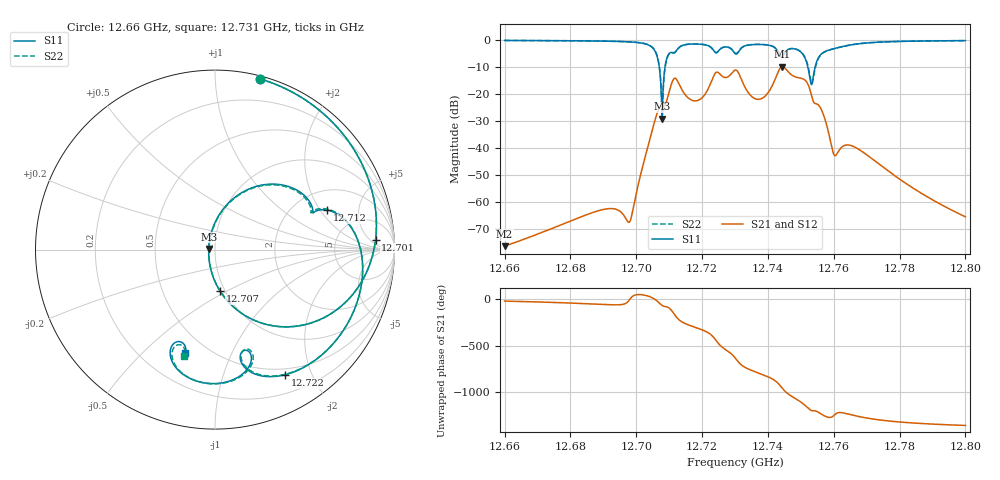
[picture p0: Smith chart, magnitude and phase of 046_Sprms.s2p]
! TOUCHSTONE file generated by CST MICROWAVE STUDIO
! Date and time: Wed Jul 31 12:59:45 2024
! Project name: WaveGuide_BPF-Ver4.1_U-shape_Ku_T3_C4_CWA_2.cst
! Parameters = {cavity_h=16; cavity_l0=10; cavity_l1=15.1943; cavity_l2=16.8028; cavity_l3=17.1314; cavity_l4=17.2284; cavity_l5=17.1281; cavity_l6=17.6007; cavity_r=2.5; cavity_screw_l=0.5; cavity_screw_r=1.5; cavity_w=8; iris_h00=0; iris_h01=8.8069; iris_h112=0; iris_h12=5.594; iris_h211=3.6668; i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
! Header version: 2018
! Port assignment regex: !\s*Touchstone port\s*([0-9]+)\s*=\s*(CST MWS port|CST DS port)\s*([0-9]+|Zmin|Zmax)\s*\(\"(.*)\"\)(\s*mode\s*([0-9]+))?.*
! Touchstone port assignment:
! Touchstone port 1 = CST MWS port 1 ("")
! Touchstone port 2 = CST MWS port 2 ("")
# GHz S RI R 50
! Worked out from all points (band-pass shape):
!   5001 points, 12.66 GHz to 12.8 GHz, reference 50 ohm
!   highest |S21| = -9.82 dB at 12.744 GHz (marker M1); lowest = -76.3 dB at 12.66 GHz (marker M2)
!   |S21| within 3 dB of the highest: 12.72861 GHz to 12.73133 GHz (2.717 MHz wide, 0.0213 % of centre); 12.74275 GHz to 12.7471 GHz (4.349 MHz wide, 0.0341 % of centre) (the widest 2 of 3)
!   lowest |S11| = -29.1 dB at 12.708 GHz (marker M3), VSWR 1.07, Z = 46.6 + j0.282 ohm
!   |S11| at or under -10 dB: 12.70699 GHz to 12.70873 GHz (1.739 MHz wide, 0.0137 % of centre); 12.75213 GHz to 12.75434 GHz (2.203 MHz wide, 0.0173 % of centre)
!   |S22| runs from -29.3 to -0.1 dB; largest |S21 - S12| = 1e-09
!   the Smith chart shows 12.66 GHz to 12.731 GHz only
!   S11 on the Smith chart (normalised r, x): 12.66 GHz: 0.02, +1.30; 12.701 GHz: 14, +8; 12.707 GHz: 0.95, -0.46; 12.712 GHz: 2.97, +2.33; 12.722 GHz: 0.42, -1.62; 12.731 GHz: 0.38, -0.68
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12.66  0.2496 0.9513  0.000146 -4.81e-05  0.000146 -4.81e-05  0.2499 0.9513
12.68335  0.6207 0.7423  0.00039 -0.000374  0.00039 -0.000374  0.62 0.743
12.69777  0.8882 0.2648  0.000416 -8.7e-05  0.000416 -8.7e-05  0.8877 0.2679
12.70077  0.8945 0.0553  0.00144 0.00186  0.00144 0.00186  0.8951 0.0597
12.70668  0.1759 -0.3724  0.0442 -0.0236  0.0442 -0.0236  0.1906 -0.38
12.70724  0.0285 -0.2316  0.0396 -0.0422  0.0396 -0.0422  0.0392 -0.2466
12.70785  -0.035 0.00302  0.0254 -0.0548  0.0254 -0.0548  -0.0341 -0.0158
12.71239  0.6258 0.2198  -0.1721 0.0553  -0.1721 0.0553  0.6156 0.2271
12.72157  0.3893 -0.6976  0.1154 0.015  0.1154 0.015  0.3951 -0.6937
12.72465  0.1899 -0.5694  -0.0466 -0.2507  -0.0466 -0.2507  0.1977 -0.5624
12.73  -0.2227 -0.5182  -0.0142 0.2777  -0.0142 0.2777  -0.2186 -0.5356
12.73104  -0.1648 -0.5784  0.1699 0.1814  0.1699 0.1814  -0.1706 -0.5901
12.73736  -0.7973 -0.2321  0.021 -0.0775  0.021 -0.0775  -0.7974 -0.2357
12.74439  -0.4133 0.2772  -0.1808 0.2675  -0.1808 0.2675  -0.4248 0.2902
12.74912  0.0024 0.654  0.2014 -0.0101  0.2014 -0.0101  0.00177 0.6592
12.7515  0.3691 0.2165  0.0712 -0.1611  0.0712 -0.1611  0.3772 0.2361
12.75335  -0.0615 -0.1408  -0.039 -0.0802  -0.039 -0.0802  -0.0243 -0.1538
12.75674  0.1431 0.5666  -0.0421 -0.0123  -0.0421 -0.0123  0.1222 0.5636
12.76094  0.6925 -0.1862  -0.0062 -0.00476  -0.0062 -0.00476  0.6931 -0.177
12.76662  0.042 -0.8383  -0.0102 -0.00151  -0.0102 -0.00151  0.0455 -0.8375
12.77668  -0.7497 -0.5526  -0.00255 0.00273  -0.00255 0.00273  -0.7496 -0.5525
12.8  -0.9635 0.1569  4.92e-05 0.000535  4.92e-05 0.000535  -0.9632 0.1588
